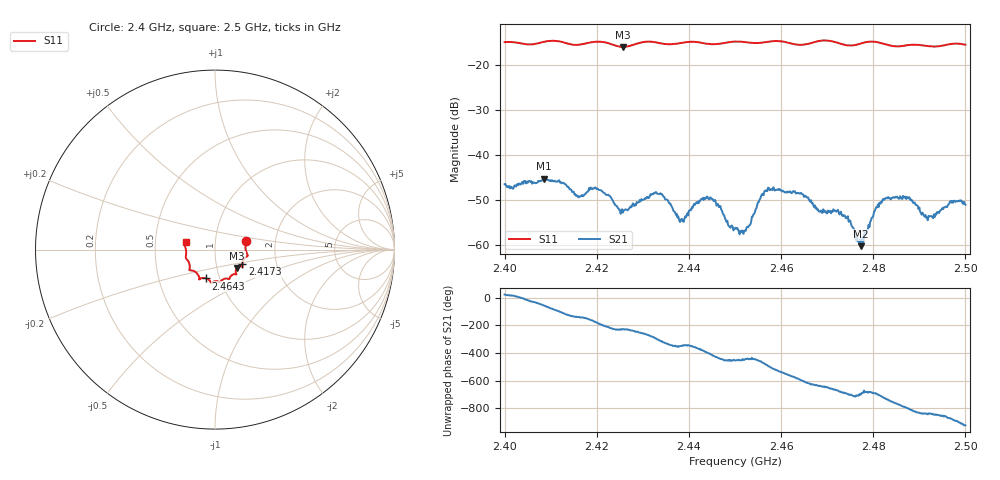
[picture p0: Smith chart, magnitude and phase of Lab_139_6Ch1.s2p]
# Hz S RI R 50
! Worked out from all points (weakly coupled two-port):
!   601 points, 2.4 GHz to 2.5 GHz, reference 50 ohm
!   highest |S21| = -45.26 dB at 2.4085 GHz (marker M1); lowest = -60.3 dB at 2.4773 GHz (marker M2)
!   lowest |S11| = -15.9 dB at 2.4257 GHz (marker M3), VSWR 1.38, Z = 62.5 - j13.1 ohm
!   |S11| at or under -10 dB: start of sweep to end of sweep
!   S12 and S22 are empty: the file has one direction only
!   S11 on the Smith chart (normalised r, x): 2.4 GHz: 1.41, +0.14; 2.4173 GHz: 1.34, -0.23; 2.4643 GHz: 0.86, -0.28; 2.5 GHz: 0.72, +0.06
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2.4e9  0.1734 0.0496  0.00431 0.00194  0 0  0 0
2.4085e9  0.1801 -0.025  0.00314 -0.00447  0 0  0 0
2.416667e9  0.1529 -0.0749  -0.00274 -0.0022  0 0  0 0
2.417333e9  0.1523 -0.0823  -0.00305 -0.00199  0 0  0 0
2.420167e9  0.1545 -0.0971  -0.00424 0.000123  0 0  0 0
2.425667e9  0.1226 -0.1021  -0.00157 0.00166  0 0  0 0
2.433333e9  0.1126 -0.1368  0.00202 0.00309  0 0  0 0
2.438333e9  0.0819 -0.1562  0.0019 0.000385  0 0  0 0
2.4425e9  0.0726 -0.1628  0.00299 -0.000858  0 0  0 0
2.445167e9  0.0539 -0.1623  0.00171 -0.00273  0 0  0 0
2.45e9  0.0296 -0.1809  -9.09e-05 -0.00151  0 0  0 0
2.452833e9  0.0183 -0.1777  0.000215 -0.00156  0 0  0 0
2.456833e9  -0.0124 -0.1806  -0.00226 -0.00335  0 0  0 0
2.464333e9  -0.0503 -0.1605  -0.00211 0.00315  0 0  0 0
2.466667e9  -0.0763 -0.1598  -0.000264 0.00289  0 0  0 0
2.474e9  -0.0976 -0.1362  0.00173 0.000993  0 0  0 0
2.477333e9  -0.13 -0.1163  0.000908 0.000332  0 0  0 0
2.480833e9  -0.1426 -0.1104  0.00238 0.0011  0 0  0 0
2.483333e9  -0.1409 -0.0894  0.00313 -0.00128  0 0  0 0
2.487833e9  -0.1598 -0.0518  0.000304 -0.00338  0 0  0 0
2.491667e9  -0.1611 -0.0285  -0.000963 -0.00177  0 0  0 0
2.5e9  -0.1635 0.042  -0.00257 0.0011  0 0  0 0
